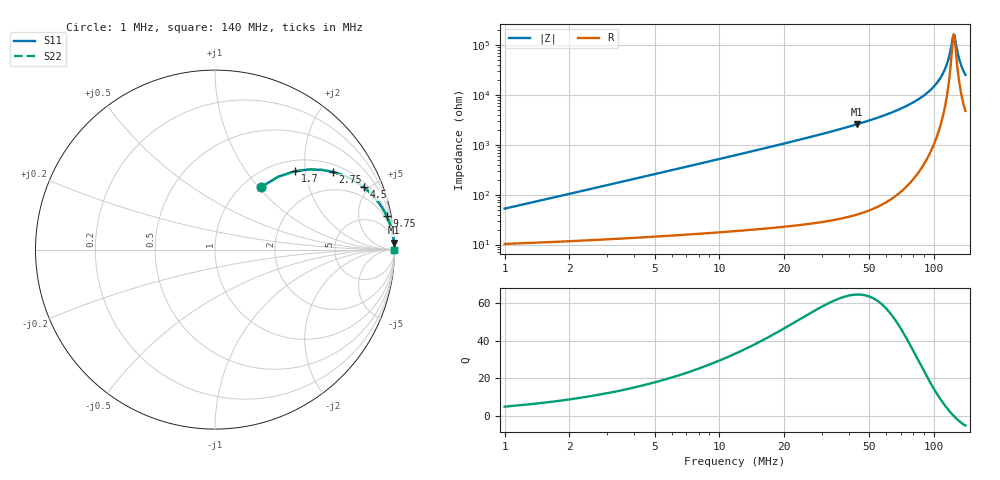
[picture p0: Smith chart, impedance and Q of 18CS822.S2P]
! Coilcraft 1812CS-822 Chip Inductor
! 31 July 2002
# MHZ S MA R 50
!Freq  MagS11  AngS11  MagS21  AngS21  MagS12  AngS12  MagS22  AngS22
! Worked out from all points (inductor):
!   399 points, 1 MHz to 140 MHz, reference 50 ohm
!   read as one part in series: L = 8.2 uH near 1.35 MHz
!   highest Q = 64.6 at 43.7 MHz (marker M1), where L = 9.37 uH
!   self-resonance near 123.5 MHz
!   S11 on the Smith chart (normalised r, x): 1 MHz: 1.21, +1.03; 1.7 MHz: 1.23, +1.75; 2.75 MHz: 1.25, +2.84; 4.5 MHz: 1.28, +4.64; 9.75 MHz: 1, +10; 140 MHz: open
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1  0.4316 53.7  0.8214 -25.0  0.8214 -25.0  0.4316 53.7
1.7  0.6236 44.4  0.706 -38.2  0.706 -38.2  0.6236 44.4
2.75  0.7864 33.4  0.5526 -51.6  0.5526 -51.6  0.7864 33.4
4.5  0.8992 22.7  0.3866 -63.8  0.3866 -63.8  0.8992 22.7
6.6  0.9481 16.1  0.2777 -71.3  0.2777 -71.3  0.9481 16.1
9.75  0.9746 11.1  0.1927 -76.9  0.1927 -76.9  0.9746 11.1
16.05  0.9902 6.8  0.1177 -81.8  0.1177 -81.8  0.9902 6.8
24.45  0.9957 4.4  0.07594 -84.6  0.07594 -84.6  0.9957 4.4
43.7  0.9986 2.2  0.03881 -86.9  0.03881 -86.9  0.9986 2.2
47.55  0.9989 2.0  0.03474 -87.1  0.03474 -87.1  0.9989 2.0
70.65  0.9994 1.1  0.0185 -87.7  0.0185 -87.7  0.9994 1.1
93.75  0.9995 0.5  0.008817 -86.6  0.008817 -86.6  0.9995 0.5
107.75  0.9995 0.2  0.004375 -83.1  0.004375 -83.1  0.9995 0.2
113  0.9995 0.2  0.002896 -79.1  0.002896 -79.1  0.9995 0.2
116.85  0.9994 0.1  0.001879 -72.4  0.001879 -72.4  0.9994 0.1
119.3  0.9994 0.1  0.001281 -63.0  0.001281 -63.0  0.9994 0.1
122.45  0.9994 0.0  0.0006851 -28.3  0.0006851 -28.3  0.9994 0.0
123.85  0.9994 -0.0  0.0006138 2.9  0.0006138 2.9  0.9994 -0.0
128.75  0.9993 -0.1  0.001405 62.4  0.001405 62.4  0.9993 -0.1
131.2  0.9993 -0.1  0.001955 69.9  0.001955 69.9  0.9993 -0.1
135.05  0.9993 -0.2  0.002833 75.5  0.002833 75.5  0.9993 -0.2
140  0.9992 -0.2  0.003948 78.9  0.003948 78.9  0.9992 -0.2
